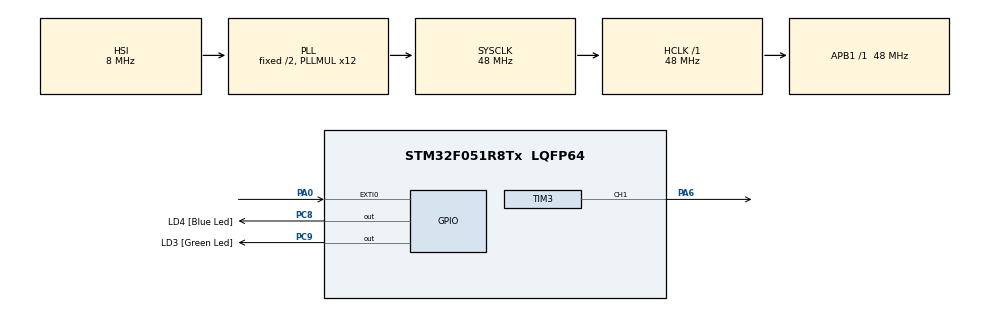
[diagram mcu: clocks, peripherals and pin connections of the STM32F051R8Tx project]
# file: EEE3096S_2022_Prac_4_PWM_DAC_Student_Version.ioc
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Dma.Request0=TIM2_CH1
Dma.TIM2_CH1.0.Direction=DMA_MEMORY_TO_PERIPH
Dma.TIM2_CH1.0.Instance=DMA1_Channel5
Dma.TIM2_CH1.0.MemDataAlignment=DMA_MDATAALIGN_WORD
Dma.TIM2_CH1.0.MemInc=DMA_MINC_ENABLE
Dma.TIM2_CH1.0.Mode=DMA_CIRCULAR
Dma.TIM2_CH1.0.PeriphDataAlignment=DMA_PDATAALIGN_WORD
Dma.TIM2_CH1.0.PeriphInc=DMA_PINC_DISABLE
Dma.TIM2_CH1.0.Priority=DMA_PRIORITY_LOW
Mcu.Family=STM32F0
Mcu.Name=STM32F051R8Tx
Mcu.Package=LQFP64
NVIC.DMA1_Channel4_5_IRQn=true\:0\:0\:false\:false\:true\:false\:true\:true
NVIC.EXTI0_1_IRQn=true\:0\:0\:false\:false\:true\:true\:true\:true
PA0.Signal=GPXTI0
PA13.GPIO_Label=SWDIO
PA13.Mode=Serial_Wire
PA13.Signal=SYS_SWDIO
PA14.GPIO_Label=SWCLK
PA14.Mode=Serial_Wire
PA14.Signal=SYS_SWCLK
PA6.Signal=S_TIM3_CH1
PC8.GPIO_Label=LD4 [Blue Led]
PC8.Signal=GPIO_Output
PC9.GPIO_Label=LD3 [Green Led]
PC9.Signal=GPIO_Output
PF0-OSC_IN.Mode=HSE-External-Oscillator
PF0-OSC_IN.Signal=RCC_OSC_IN
PF1-OSC_OUT.Mode=HSE-External-Oscillator
PF1-OSC_OUT.Signal=RCC_OSC_OUT
ProjectManager.HeapSize=0x200
ProjectManager.StackSize=0x400
ProjectManager.TargetToolchain=STM32CubeIDE
RCC.AHBFreq_Value=48000000
RCC.APB1Freq_Value=48000000
RCC.APB1TimFreq_Value=48000000
RCC.HCLKFreq_Value=48000000
RCC.PLLMUL=RCC_PLL_MUL12
RCC.SYSCLKFreq_VALUE=48000000
RCC.SYSCLKSource=RCC_SYSCLKSOURCE_PLLCLK
SH.S_TIM3_CH1.0=TIM3_CH1,PWM Generation1 CH1
TIM2.AutoReloadPreload=TIM_AUTORELOAD_PRELOAD_ENABLE
TIM2.Channel-Output\ Compare1\ No\ Output=TIM_CHANNEL_1
TIM2.Period=147999
TIM2.Prescaler=1
TIM2.TIM_MasterOutputTrigger=TIM_TRGO_UPDATE
TIM3.AutoReloadPreload=TIM_AUTORELOAD_PRELOAD_ENABLE
TIM3.Channel-PWM\ Generation1\ CH1=TIM_CHANNEL_1
TIM3.Period=1023
VP_TIM2_VS_ClockSourceINT.Mode=Internal
VP_TIM2_VS_no_output1.Mode=Output Compare1 No Output
VP_TIM3_VS_ClockSourceINT.Mode=Internal
board=STM32F0DISCOVERY

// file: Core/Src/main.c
/* USER CODE BEGIN Header */
/**
  ******************************************************************************
  * @file           : main.c
  * @brief          : Main program body
  ******************************************************************************
  * @attention
  *
  * Copyright (c) 2022 STMicroelectronics.
  * All rights reserved.
  *
  * This software is licensed under terms that can be found in the LICENSE file
  * in the root directory of this software component.
  * If no LICENSE file comes with this software, it is provided AS-IS.
  *
  ******************************************************************************
  */
/* USER CODE END Header */
#include "main.h"

/* USER CODE BEGIN PD */
#define NS 128
#define TIM2CLK 48000000
#define F_signal 5000
#define RES 10
/* USER CODE END PD */

TIM_HandleTypeDef htim2;
TIM_HandleTypeDef htim3;
DMA_HandleTypeDef hdma_tim2_ch1;

static const uint32_t sinLUT[NS] = {512, 537, 562, 587, 612, 637, 661, 685, 709, 732, 754, 776, 798, 818, 838,
857, 875, 893, 909, 925, 939, 952, 965, 976, 986, 995, 1002, 1009, 1014, 1018,
1021, 1023, 1023, 1022, 1020, 1016, 1012, 1006, 999, 990, 981, 970, 959, 946, 932,
917, 901, 884, 866, 848, 828, 808, 787, 765, 743, 720, 697, 673, 649, 624,
600, 575, 549, 524, 499, 474, 448, 423, 399, 374, 350, 326, 303, 280, 258,
236, 215, 195, 175, 157, 139, 122, 106, 91, 77, 64, 53, 42, 33, 24,
17, 11, 7, 3, 1, 0, 0, 2, 5, 9, 14, 21, 28, 37, 47,
58, 71, 84, 98, 114, 130, 148, 166, 185, 205, 225, 247, 269, 291, 314,
338, 362, 386, 411, 436, 461, 486, 511};

static const uint32_t sawtoothLUT[NS] = {0, 8, 16, 24, 32, 40, 48, 56, 64, 72, 81, 89, 97, 105, 113,
121, 129, 137, 145, 153, 161, 169, 177, 185, 193, 201, 209, 217, 226, 234,
242, 250, 258, 266, 274, 282, 290, 298, 306, 314, 322, 330, 338, 346, 354,
362, 371, 379, 387, 395, 403, 411, 419, 427, 435, 443, 451, 459, 467, 475,
483, 491, 499, 507, 516, 524, 532, 540, 548, 556, 564, 572, 580, 588, 596,
604, 612, 620, 628, 636, 644, 652, 661, 669, 677, 685, 693, 701, 709, 717,
725, 733, 741, 749, 757, 765, 773, 781, 789, 797, 806, 814, 822, 830, 838,
846, 854, 862, 870, 878, 886, 894, 902, 910, 918, 926, 934, 942, 951, 959,
967, 975, 983, 991, 999, 1007, 1015, 0};

static const uint32_t triangleLUT[NS] = {0, 16, 32, 48, 64, 81, 97, 113, 129, 145, 161, 177, 193, 209, 226,
242, 258, 274, 290, 306, 322, 338, 354, 371, 387, 403, 419, 435, 451, 467,
483, 499, 516, 532, 548, 564, 580, 596, 612, 628, 644, 661, 677, 693, 709,
725, 741, 757, 773, 789, 806, 822, 838, 854, 870, 886, 902, 918, 934, 951,
967, 983, 999, 1015, 1015, 999, 983, 967, 951, 934, 918, 902, 886, 870, 854,
838, 822, 806, 789, 773, 757, 741, 725, 709, 693, 677, 661, 644, 628, 612,
596, 580, 564, 548, 532, 516, 499, 483, 467, 451, 435, 419, 403, 387, 371,
354, 338, 322, 306, 290, 274, 258, 242, 226, 209, 193, 177, 161, 145, 129,
113, 97, 81, 64, 48, 32, 16, 0};

uint32_t TIM2_ticks = TIM2CLK/(NS*F_signal);
uint32_t DestAddress = (uint32_t) &(TIM3->CCR1);
uint8_t lutStatus;// 0: sine, 1: sawtooth, 2: triangle

void SystemClock_Config(void);
static void MX_GPIO_Init(void);
static void MX_DMA_Init(void);
static void MX_TIM2_Init(void);
static void MX_TIM3_Init(void);

int main(void)
{

  /* MCU Configuration--------------------------------------------------------*/
  /* Reset of all peripherals, Initializes the Flash interface and the Systick. */
  HAL_Init();
  lutStatus =0;

  /* Configure the system clock */
  SystemClock_Config();

  /* Initialize all configured peripherals */
  MX_GPIO_Init();
  MX_DMA_Init();
  MX_TIM2_Init();
  MX_TIM3_Init();

  HAL_TIMEx_PWMN_Start(&htim3, TIM_CHANNEL_1);//task 4 start TIM3 in PWM mode on c1
   HAL_TIM_OC_Start(&htim2, TIM_CHANNEL_1);//task 4 start TIM2 in OC mode on c1
   HAL_DMA_Start_IT(&hdma_tim2_ch1, (uint32_t)sinLUT, DestAddress, NS);//task 4 start DMA interrupt IT
   __HAL_TIM_ENABLE_DMA(&htim2, TIM_DMA_CC1);//task 4

  /* Infinite loop */
  while (1)
  {

    /* USER CODE BEGIN 3 */

	  uint8_t pot_val = 0;
	      for (int i = 0; i < NUM_BITS; ++i) {
	    	  GPIO_PinState receive_pin = HAL_GPIO_ReadPin(GPIOA, GPIO_Pin_7);	// Read data from PA7
	          if (receive_pin == 1)	// == GPIO_PIN_SET
	              pot_val |= 1<<i;    // add 1 to i'th index
	      }

  }
  /* USER CODE END 3 */
}

uint32_t ADCtoCRR(uint32_t adc_val){    // convert ADC value to PWM duty cycle (CRR) value
	//TO DO:
	//TASK 3
	// Complete the function body
	//HINT: The CCR value for 100% DC is 47999 (DC = CCR/ARR = CCR/47999)
	//HINT: The ADC range is approx 0 - 4095 => adc_val in range(0, 4095)
	//HINT: Scale number from 0-4096 to 0 -

    //if the value is 200, then green LED will be on for 200 cycles and of for 3896 cycles
    uint32_t ccr_val = adc_val* 47999/4095 ;//change to suitable value
    uint32_t arr_val = 47999;
    HAL_TIM_PWM_Start(&hadc, TIM_CHANNEL_4);
    HAL_ADC_Start_IT(&hadc);
    uint32_t val = 100*ccr_val/arr_val;
    __HAL_TIM_SetCompare(&htim3, TIM_CHANNEL_4, ccr_val);
    HAL_ADC_Stop_IT(&hadc);

	return val;
}

void SystemClock_Config(void)
{
  RCC_OscInitTypeDef RCC_OscInitStruct = {0};
  RCC_ClkInitTypeDef RCC_ClkInitStruct = {0};

  /** Initializes the RCC Oscillators according to the specified parameters
  * in the RCC_OscInitTypeDef structure.
  */
  RCC_OscInitStruct.OscillatorType = RCC_OSCILLATORTYPE_HSI;
  RCC_OscInitStruct.HSIState = RCC_HSI_ON;
  RCC_OscInitStruct.HSICalibrationValue = RCC_HSICALIBRATION_DEFAULT;
  RCC_OscInitStruct.PLL.PLLState = RCC_PLL_ON;
  RCC_OscInitStruct.PLL.PLLSource = RCC_PLLSOURCE_HSI;
  RCC_OscInitStruct.PLL.PLLMUL = RCC_PLL_MUL12;
  RCC_OscInitStruct.PLL.PREDIV = RCC_PREDIV_DIV1;
  if (HAL_RCC_OscConfig(&RCC_OscInitStruct) != HAL_OK)
  {
    Error_Handler();
  }

  /** Initializes the CPU, AHB and APB buses clocks
  */
  RCC_ClkInitStruct.ClockType = RCC_CLOCKTYPE_HCLK|RCC_CLOCKTYPE_SYSCLK
                              |RCC_CLOCKTYPE_PCLK1;
  RCC_ClkInitStruct.SYSCLKSource = RCC_SYSCLKSOURCE_PLLCLK;
  RCC_ClkInitStruct.AHBCLKDivider = RCC_SYSCLK_DIV1;
  RCC_ClkInitStruct.APB1CLKDivider = RCC_HCLK_DIV1;

  if (HAL_RCC_ClockConfig(&RCC_ClkInitStruct, FLASH_LATENCY_1) != HAL_OK)
  {
    Error_Handler();
  }
}

static void MX_TIM2_Init(void)
{

  TIM_ClockConfigTypeDef sClockSourceConfig = {0};
  TIM_MasterConfigTypeDef sMasterConfig = {0};
  TIM_OC_InitTypeDef sConfigOC = {0};

  htim2.Instance = TIM2;
  htim2.Init.Prescaler = 32;
  htim2.Init.CounterMode = TIM_COUNTERMODE_UP;
  htim2.Init.Period = 14799;
  htim2.Init.ClockDivision = TIM_CLOCKDIVISION_DIV1;
  htim2.Init.AutoReloadPreload = TIM_AUTORELOAD_PRELOAD_ENABLE;
  if (HAL_TIM_Base_Init(&htim2) != HAL_OK)
  {
    Error_Handler();
  }
  sClockSourceConfig.ClockSource = TIM_CLOCKSOURCE_INTERNAL;
  if (HAL_TIM_ConfigClockSource(&htim2, &sClockSourceConfig) != HAL_OK)
  {
    Error_Handler();
  }
  if (HAL_TIM_OC_Init(&htim2) != HAL_OK)
  {
    Error_Handler();
  }
  sMasterConfig.MasterOutputTrigger = TIM_TRGO_UPDATE;
  sMasterConfig.MasterSlaveMode = TIM_MASTERSLAVEMODE_DISABLE;
  if (HAL_TIMEx_MasterConfigSynchronization(&htim2, &sMasterConfig) != HAL_OK)
  {
    Error_Handler();
  }
  sConfigOC.OCMode = TIM_OCMODE_TIMING;
  sConfigOC.Pulse = 0;
  sConfigOC.OCPolarity = TIM_OCPOLARITY_HIGH;
  sConfigOC.OCFastMode = TIM_OCFAST_DISABLE;
  if (HAL_TIM_OC_ConfigChannel(&htim2, &sConfigOC, TIM_CHANNEL_1) != HAL_OK)
  {
    Error_Handler();
  }

}

static void MX_TIM3_Init(void)
{

  TIM_ClockConfigTypeDef sClockSourceConfig = {0};
  TIM_MasterConfigTypeDef sMasterConfig = {0};
  TIM_OC_InitTypeDef sConfigOC = {0};

  htim3.Instance = TIM3;
  htim3.Init.Prescaler = 0;
  htim3.Init.CounterMode = TIM_COUNTERMODE_UP;
  htim3.Init.Period = 1023;
  htim3.Init.ClockDivision = TIM_CLOCKDIVISION_DIV1;
  htim3.Init.AutoReloadPreload = TIM_AUTORELOAD_PRELOAD_ENABLE;
  if (HAL_TIM_Base_Init(&htim3) != HAL_OK)
  {
    Error_Handler();
  }
  sClockSourceConfig.ClockSource = TIM_CLOCKSOURCE_INTERNAL;
  if (HAL_TIM_ConfigClockSource(&htim3, &sClockSourceConfig) != HAL_OK)
  {
    Error_Handler();
  }
  if (HAL_TIM_PWM_Init(&htim3) != HAL_OK)
  {
    Error_Handler();
  }
  sMasterConfig.MasterOutputTrigger = TIM_TRGO_RESET;
  sMasterConfig.MasterSlaveMode = TIM_MASTERSLAVEMODE_DISABLE;
  if (HAL_TIMEx_MasterConfigSynchronization(&htim3, &sMasterConfig) != HAL_OK)
  {
    Error_Handler();
  }
  sConfigOC.OCMode = TIM_OCMODE_PWM1;
  sConfigOC.Pulse = 0;
  sConfigOC.OCPolarity = TIM_OCPOLARITY_HIGH;
  sConfigOC.OCFastMode = TIM_OCFAST_DISABLE;
  if (HAL_TIM_PWM_ConfigChannel(&htim3, &sConfigOC, TIM_CHANNEL_1) != HAL_OK)
  {
    Error_Handler();
  }
  HAL_TIM_MspPostInit(&htim3);

}

static void MX_DMA_Init(void)
{

  /* DMA controller clock enable */
  __HAL_RCC_DMA1_CLK_ENABLE();

  /* DMA interrupt init */
  /* DMA1_Channel4_5_IRQn interrupt configuration */
  HAL_NVIC_SetPriority(DMA1_Channel4_5_IRQn, 0, 0);
  HAL_NVIC_EnableIRQ(DMA1_Channel4_5_IRQn);

}

static void MX_GPIO_Init(void)
{
  GPIO_InitTypeDef GPIO_InitStruct = {0};

  /* GPIO Ports Clock Enable */
  __HAL_RCC_GPIOF_CLK_ENABLE();
  __HAL_RCC_GPIOA_CLK_ENABLE();
  __HAL_RCC_GPIOC_CLK_ENABLE();

  /*Configure GPIO pin Output Level */
  HAL_GPIO_WritePin(GPIOC, LD4_Pin|LD3_Pin, GPIO_PIN_RESET);

  /*Configure GPIO pin : PA0 */
  GPIO_InitStruct.Pin = GPIO_PIN_0;
  GPIO_InitStruct.Mode = GPIO_MODE_IT_RISING;
  GPIO_InitStruct.Pull = GPIO_NOPULL;
  HAL_GPIO_Init(GPIOA, &GPIO_InitStruct);

  /*Configure GPIO pins : LD4_Pin LD3_Pin */
  GPIO_InitStruct.Pin = LD4_Pin|LD3_Pin;
  GPIO_InitStruct.Mode = GPIO_MODE_OUTPUT_PP;
  GPIO_InitStruct.Pull = GPIO_NOPULL;
  GPIO_InitStruct.Speed = GPIO_SPEED_FREQ_LOW;
  HAL_GPIO_Init(GPIOC, &GPIO_InitStruct);

  /* EXTI interrupt init*/
  HAL_NVIC_SetPriority(EXTI0_1_IRQn, 0, 0);
  HAL_NVIC_EnableIRQ(EXTI0_1_IRQn);

}

void EXTI0_1_IRQHandler(void)
{
  /* USER CODE BEGIN EXTI0_1_IRQn 0 */
	uint32_t tick = 1;
	uint32_t tickStart = HAL_GetTick();
	__HAL_TIM_DISABLE_DMA(&htim2, TIM_DMA_CC1);

	if ((HAL_GetTick()-tickStart) <= tick) {

//		__HAL_TIM_DISABLE_DMA(&htim2, TIM_DMA_CC1);

		switch(lutStatus){
			case 1:
				HAL_DMA_Start_IT(&hdma_tim2_ch1, (uint32_t)sawtoothLUT, DestAddress, NS);
				__HAL_TIM_ENABLE_DMA(&htim2, TIM_DMA_CC1);
				lutStatus = 2;
			case 2:
				HAL_DMA_Start_IT(&hdma_tim2_ch1, (uint32_t)triangleLUT, DestAddress, NS);
				__HAL_TIM_ENABLE_DMA(&htim2, TIM_DMA_CC1);
				lutStatus = 0;
			default:
				HAL_DMA_Start_IT(&hdma_tim2_ch1, (uint32_t)sinLUT, DestAddress, NS);
				__HAL_TIM_ENABLE_DMA(&htim2, TIM_DMA_CC1);
				lutStatus = 1;
		}

	}
	HAL_GPIO_EXTI_IRQHandler(GPIO_PIN_0); // clear interrupt flags
  /* USER CODE END EXTI0_1_IRQn 0 */
}

void Error_Handler(void)
{
  __disable_irq();
  while (1)
  {
  }
}
